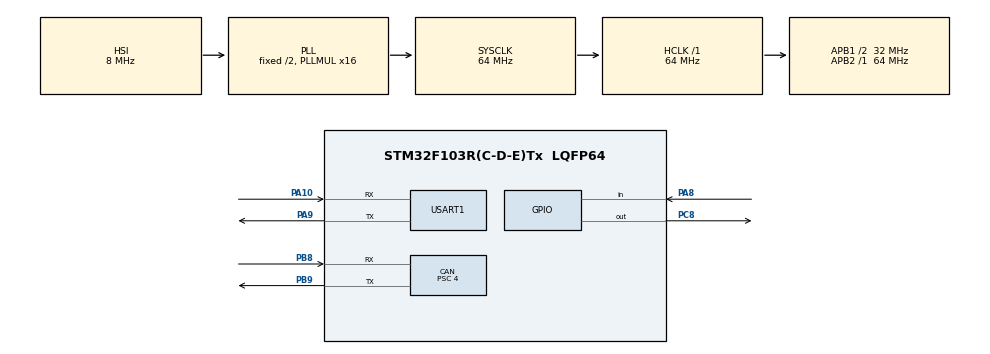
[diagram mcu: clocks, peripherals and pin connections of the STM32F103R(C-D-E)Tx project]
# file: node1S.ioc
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CAN.BS1=CAN_BS1_12TQ
CAN.BS2=CAN_BS2_3TQ
CAN.CalculateBaudRate=500000
CAN.CalculateTimeBit=2000
CAN.CalculateTimeQuantum=125.0
CAN.Prescaler=4
Mcu.Family=STM32F1
Mcu.Name=STM32F103R(C-D-E)Tx
Mcu.Package=LQFP64
NVIC.PriorityGroup=NVIC_PRIORITYGROUP_4
NVIC.USART1_IRQn=true\:0\:0\:false\:false\:true\:true\:true\:true
PA10.Mode=Asynchronous
PA10.Signal=USART1_RX
PA13.Mode=Serial_Wire
PA13.Signal=SYS_JTMS-SWDIO
PA14.Mode=Serial_Wire
PA14.Signal=SYS_JTCK-SWCLK
PA8.GPIO_PuPd=GPIO_PULLUP
PA8.Signal=GPIO_Input
PA9.Mode=Asynchronous
PA9.Signal=USART1_TX
PB8.GPIO_PuPd=GPIO_NOPULL
PB8.Mode=CAN_Activate
PB8.Signal=CAN_RX
PB9.Mode=CAN_Activate
PB9.Signal=CAN_TX
PC8.Signal=GPIO_Output
ProjectManager.HeapSize=0x200
ProjectManager.StackSize=0x400
ProjectManager.TargetToolchain=STM32CubeIDE
RCC.AHBFreq_Value=64000000
RCC.APB1CLKDivider=RCC_HCLK_DIV2
RCC.APB1Freq_Value=32000000
RCC.APB1TimFreq_Value=64000000
RCC.APB2Freq_Value=64000000
RCC.APB2TimFreq_Value=64000000
RCC.HCLKFreq_Value=64000000
RCC.PLLMUL=RCC_PLL_MUL16
RCC.SYSCLKFreq_VALUE=64000000
RCC.SYSCLKSource=RCC_SYSCLKSOURCE_PLLCLK
RCC.USBFreq_Value=64000000
USART1.VirtualMode=VM_ASYNC
board=custom

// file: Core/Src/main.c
/* USER CODE BEGIN Header */
/**
  ******************************************************************************
  * @file           : main.c
  * @brief          : Main program body
  ******************************************************************************
  * @attention
  *
  * Copyright (c) 2026 STMicroelectronics.
  * All rights reserved.
  *
  * This software is licensed under terms that can be found in the LICENSE file
  * in the root directory of this software component.
  * If no LICENSE file comes with this software, it is provided AS-IS.
  *
  ******************************************************************************
  */
/* USER CODE END Header */
#include "main.h"
#include "can.h"
#include "usart.h"
#include "gpio.h"

/* USER CODE BEGIN PD */
#define CAN_REQ_ID 0x100U
#define CAN_ACK_ID 0x101U
/* USER CODE END PD */

/* USER CODE BEGIN PV */
CAN_TxHeaderTypeDef TxHeader;
uint8_t TxData[8];
uint32_t TxMailbox;
CAN_FilterTypeDef canFilter;
CAN_RxHeaderTypeDef RxHeader;
uint8_t RxData[8];
/* USER CODE END PV */

void SystemClock_Config(void);

int main(void)
{

  /* MCU Configuration--------------------------------------------------------*/

  /* Reset of all peripherals, Initializes the Flash interface and the Systick. */
  HAL_Init();

  /* Configure the system clock */
  SystemClock_Config();

  /* Initialize all configured peripherals */
  MX_GPIO_Init();
  MX_CAN_Init();
  MX_USART1_UART_Init();
  /* USER CODE BEGIN 2 */
  canFilter.FilterBank = 0;
canFilter.FilterMode = CAN_FILTERMODE_IDMASK;
canFilter.FilterScale = CAN_FILTERSCALE_32BIT;
canFilter.FilterIdHigh = 0x0000;
canFilter.FilterIdLow = 0x0000;
canFilter.FilterMaskIdHigh = 0x0000;
canFilter.FilterMaskIdLow = 0x0000;
canFilter.FilterFIFOAssignment = CAN_RX_FIFO0;
canFilter.FilterActivation = ENABLE;
HAL_CAN_ConfigFilter(&hcan, &canFilter);

HAL_CAN_Start(&hcan);

HAL_CAN_ActivateNotification(&hcan, CAN_IT_RX_FIFO0_MSG_PENDING);

TxHeader.StdId = CAN_REQ_ID;
TxHeader.IDE = CAN_ID_STD;
TxHeader.RTR = CAN_RTR_DATA;
TxHeader.DLC = 2;
TxHeader.TransmitGlobalTime = DISABLE;
  /* USER CODE END 2 */

  /* Infinite loop */
  while (1)
  {

    /* USER CODE BEGIN 3 */

	  if (HAL_GPIO_ReadPin(GPIOA, GPIO_PIN_8) == GPIO_PIN_RESET)
    {
      HAL_Delay(20);
      if (HAL_GPIO_ReadPin(GPIOA, GPIO_PIN_8) == GPIO_PIN_RESET)
      {
        TxData[0] = 0xAA;
        TxData[1] = 0xBB;
        if (HAL_CAN_AddTxMessage(&hcan, &TxHeader, TxData, &TxMailbox) == HAL_OK)
        {
          HAL_GPIO_WritePin(GPIOC, GPIO_PIN_8, GPIO_PIN_SET);
        }
        else
        {
          for (int i = 0; i < 6; i++)
          {
            HAL_GPIO_TogglePin(GPIOC, GPIO_PIN_8);
            HAL_Delay(100);
          }
        }
        while (HAL_GPIO_ReadPin(GPIOA, GPIO_PIN_8) == GPIO_PIN_RESET);
        HAL_GPIO_WritePin(GPIOC, GPIO_PIN_8, GPIO_PIN_RESET);
      }
    }
  /* USER CODE END 3 */
}

}

void SystemClock_Config(void)
{
  RCC_OscInitTypeDef RCC_OscInitStruct = {0};
  RCC_ClkInitTypeDef RCC_ClkInitStruct = {0};

  /** Initializes the RCC Oscillators according to the specified parameters
  * in the RCC_OscInitTypeDef structure.
  */
  RCC_OscInitStruct.OscillatorType = RCC_OSCILLATORTYPE_HSI;
  RCC_OscInitStruct.HSIState = RCC_HSI_ON;
  RCC_OscInitStruct.HSICalibrationValue = RCC_HSICALIBRATION_DEFAULT;
  RCC_OscInitStruct.PLL.PLLState = RCC_PLL_ON;
  RCC_OscInitStruct.PLL.PLLSource = RCC_PLLSOURCE_HSI_DIV2;
  RCC_OscInitStruct.PLL.PLLMUL = RCC_PLL_MUL16;
  if (HAL_RCC_OscConfig(&RCC_OscInitStruct) != HAL_OK)
  {
    Error_Handler();
  }

  /** Initializes the CPU, AHB and APB buses clocks
  */
  RCC_ClkInitStruct.ClockType = RCC_CLOCKTYPE_HCLK|RCC_CLOCKTYPE_SYSCLK
                              |RCC_CLOCKTYPE_PCLK1|RCC_CLOCKTYPE_PCLK2;
  RCC_ClkInitStruct.SYSCLKSource = RCC_SYSCLKSOURCE_PLLCLK;
  RCC_ClkInitStruct.AHBCLKDivider = RCC_SYSCLK_DIV1;
  RCC_ClkInitStruct.APB1CLKDivider = RCC_HCLK_DIV2;
  RCC_ClkInitStruct.APB2CLKDivider = RCC_HCLK_DIV1;

  if (HAL_RCC_ClockConfig(&RCC_ClkInitStruct, FLASH_LATENCY_2) != HAL_OK)
  {
    Error_Handler();
  }
}

void Error_Handler(void)
{
  __disable_irq();
  while (1)
  {
  }
}
